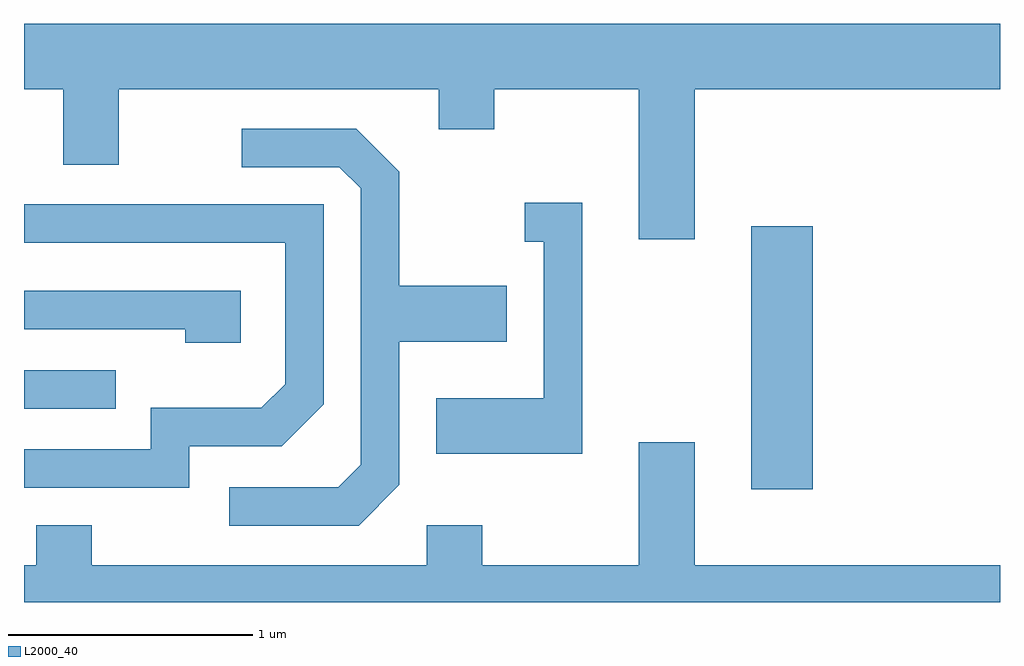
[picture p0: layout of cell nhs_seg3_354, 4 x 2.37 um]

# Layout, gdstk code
import gdstk
lib = gdstk.Library(unit=1e-6, precision=1e-09)
def R(c, l, rs):  # rectangles x0, y0, x1, y1
    for r in rs: c.add(gdstk.rectangle(r[:2], r[2:], *l))
def P(c, l, *ps):  # polygons
    for p in ps: c.add(gdstk.Polygon(p, *l))
L2000_40 = (2000, 40)

nhs_seg3_354 = lib.new_cell('nhs_seg3_354')
R(nhs_seg3_354, L2000_40, [(198.591,1144.356,198.844,1145.434), (195.611,1144.686,195.988,1144.844)])
P(nhs_seg3_354, L2000_40, [(198.359,1145.996),(199.611,1145.996),(199.611,1146.264),(195.611,1146.264),(195.611,1145.996),(195.771,1145.996),(195.771,1145.686),(195.999,1145.686),(195.999,1145.996),(197.311,1145.996),(197.311,1145.831),(197.539,1145.831),(197.539,1145.996),(198.131,1145.996),(198.131,1145.381),(198.359,1145.381)],
  [(197.149,1144.374),(197.149,1144.961),(197.589,1144.961),(197.589,1145.189),(197.149,1145.189),(197.149,1145.657),(196.972,1145.834),(196.503,1145.834),(196.503,1145.676),(196.904,1145.676),(196.991,1145.589),(196.991,1144.457),(196.899,1144.364),(196.453,1144.364),(196.453,1144.206),(196.982,1144.206)],
  [(197.899,1145.529),(197.663,1145.529),(197.663,1145.371),(197.741,1145.371),(197.741,1144.729),(197.301,1144.729),(197.301,1144.501),(197.899,1144.501)],
  [(196.289,1144.531),(196.667,1144.531),(196.839,1144.704),(196.839,1145.524),(195.611,1145.524),(195.611,1145.366),(196.681,1145.366),(196.681,1144.787),(196.584,1144.689),(196.131,1144.689),(196.131,1144.519),(195.611,1144.519),(195.611,1144.361),(196.289,1144.361)],
  [(196.499,1145.169),(195.611,1145.169),(195.611,1145.011),(196.271,1145.011),(196.271,1144.956),(196.499,1144.956)],
  [(199.611,1144.044),(198.359,1144.044),(198.359,1144.549),(198.131,1144.549),(198.131,1144.044),(197.489,1144.044),(197.489,1144.209),(197.261,1144.209),(197.261,1144.044),(195.889,1144.044),(195.889,1144.209),(195.661,1144.209),(195.661,1144.044),(195.611,1144.044),(195.611,1143.892),(199.611,1143.892)])

lib.write_gds('nhs_seg3_354.gds')
